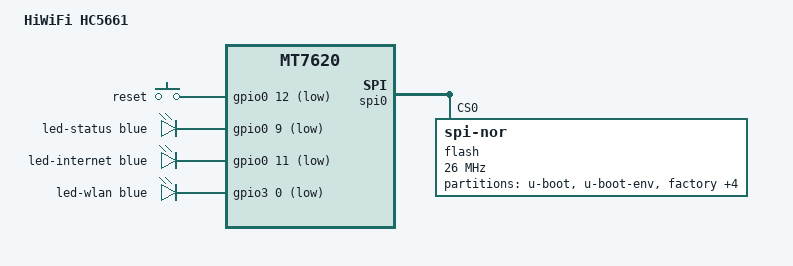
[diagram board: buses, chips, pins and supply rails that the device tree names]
// SPDX-License-Identifier: GPL-2.0-or-later

/dts-v1/;

#include "mt7620.dtsi"

#include <dt-bindings/gpio/gpio.h>
#include <dt-bindings/input/input.h>
#include <dt-bindings/leds/common.h>

/ {
	compatible = "hiwifi,hc5661", "mediatek,mt7620-soc";
	model = "HiWiFi HC5661";

	/delete-node/ clock-48m;
	/delete-node/ serial@10000500;
	/delete-node/ watchdog@10000120;
	/delete-node/ usb-phy;
	/delete-node/ ehci@101c0000;
	/delete-node/ mmc@10130000;

	aliases {
		serial0 = &uartlite;
		spi0 = &spi0;
	};

	chosen {
		stdout-path = "serial0:115200n8";
	};

	gpio-keys {
		compatible = "gpio-keys";

		button-reset {
			label = "reset";
			linux,code = <KEY_RESTART>;
			gpios = <&gpio0 12 GPIO_ACTIVE_LOW>;
		};
	};

	gpio-leds {
		compatible = "gpio-leds";

		led-status {
			color = <LED_COLOR_ID_BLUE>;
			function = LED_FUNCTION_STATUS;
			gpios = <&gpio0 9 GPIO_ACTIVE_LOW>;
			default-state = "on";
		};

		led-internet {
			color = <LED_COLOR_ID_BLUE>;
			function = "internet";
			gpios = <&gpio0 11 GPIO_ACTIVE_LOW>;
			default-state = "off";
		};

		led-wlan {
			color = <LED_COLOR_ID_BLUE>;
			function = LED_FUNCTION_WLAN;
			gpios = <&gpio3 0 GPIO_ACTIVE_LOW>;
			default-state = "off";
		};
	};

	options {
		u-boot {
			compatible = "u-boot,config";
			boot-btn1 = "reset";
			boot-led1 = "blue:status";
			bootcmd_1-1 = "tftp_boot_ik";
			bootcmd_1-2 = "tftp_update_fw";
			bootcmd_1-3 = "switch_console";
			bootcmd_1-4 = "env init";
		};
	};
};

&pinctrl {
	pinctrl-0 = <&state_default>, <&sd_pins>;

	/delete-node/ nand_pins;
	/delete-node/ spi_dual_pins;
	/delete-node/ uartf_pins;
	/delete-node/ uartf_pcm_pins;
	/delete-node/ uartf_i2s_pins;
	/delete-node/ uartf_gpio_pins;
};

&spi0 {
	flash@0 {
		compatible = "jedec,spi-nor";
		reg = <0>;
		spi-max-frequency = <26000000>;

		partitions {
			compatible = "fixed-partitions";
			#address-cells = <1>;
			#size-cells = <1>;

			partition@0 {
				label = "u-boot";
				reg = <0x000000 0x030000>;
			};

			partition@30000 {
				label = "u-boot-env";
				reg = <0x030000 0x010000>;
			};

			partition@40000 {
				label = "factory";
				reg = <0x040000 0x010000>;
			};

			partition@50000 {
				label = "firmware";
				reg = <0x50000 0xf70000>;
			};

			partition@fc0000 {
				label = "oem";
				reg = <0xfc0000 0x020000>;
			};

			partition@fe0000 {
				label = "bdinfo";
				reg = <0xfe0000 0x010000>;
			};

			partition@ff0000 {
				label = "backup";
				reg = <0xff0000 0x010000>;
			};
		};
	};
};

&state_default {
	gpios {
		groups = "i2c", "uartf", "mdio", "rgmii1", "rgmii2", "perst", \
			 "pa", "wdt rst", "wled", "ephy led";
		function = "gpio";
	};
};
